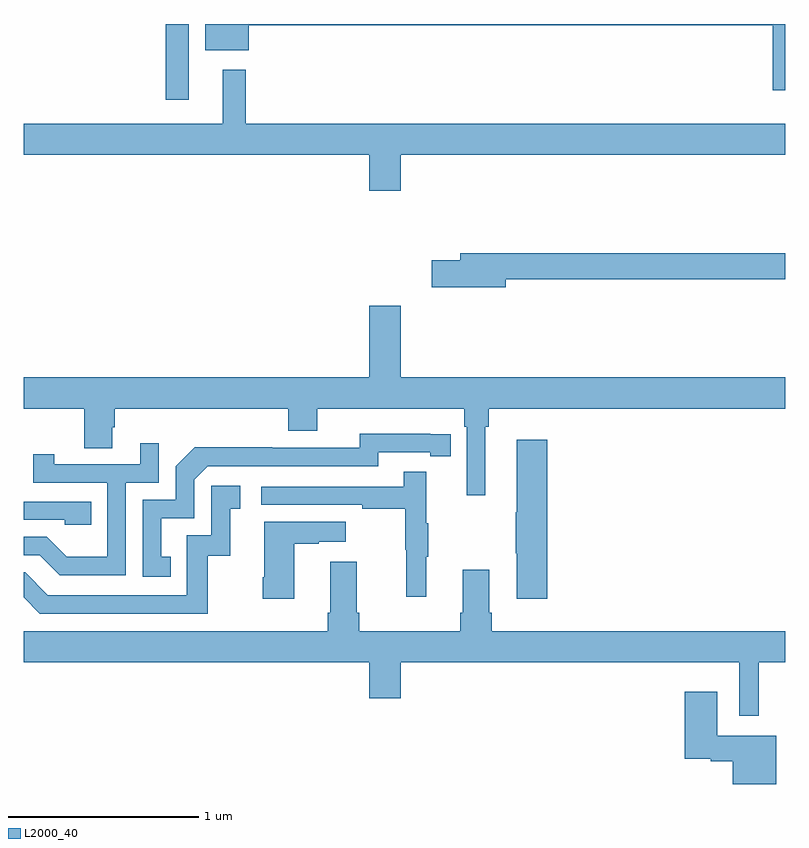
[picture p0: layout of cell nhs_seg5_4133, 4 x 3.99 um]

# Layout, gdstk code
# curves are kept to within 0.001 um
import gdstk
lib = gdstk.Library(unit=1e-6, precision=1e-09)
def R(c, l, rs):  # rectangles x0, y0, x1, y1
    for r in rs: c.add(gdstk.rectangle(r[:2], r[2:], *l))
def P(c, l, *ps):  # polygons
    for p in ps: c.add(gdstk.Polygon(p, *l))
L2000_40 = (2000, 40)

nhs_seg5_4133 = lib.new_cell('nhs_seg5_4133')
R(nhs_seg5_4133, L2000_40, [(355.746,838.401,355.867,838.799)])
P(nhs_seg5_4133, L2000_40, [(359,838.799),(355.955,838.799),(355.955,838.661),(356.182,838.661),(356.182,838.792),(358.934,838.792),(358.934,838.452),(359,838.452)],
  [(356.98,838.112),(359,838.112),(359,838.276),(356.167,838.276),(356.167,838.558),(356.045,838.558),(356.045,838.276),(355,838.276),(355,838.112),(356.816,838.112),(356.816,837.924),(356.98,837.924)],
  [(357.532,837.46),(359,837.46),(359,837.596),(357.293,837.596),(357.293,837.56),(357.144,837.56),(357.144,837.418),(357.532,837.418)],
  [(356.98,837.319),(356.816,837.319),(356.816,836.944),(355,836.944),(355,836.78),(355.318,836.78),(355.318,836.572),(355.465,836.572),(355.465,836.682),(355.478,836.682),(355.478,836.78),(356.39,836.78),(356.39,836.663),(356.542,836.663),(356.542,836.78),(357.314,836.78),(357.314,836.684),(357.327,836.684),(357.327,836.325),(357.424,836.325),(357.424,836.684),(357.443,836.684),(357.443,836.78),(359,836.78),(359,836.944),(356.98,836.944)],
  [(355.772,836.001),(355.723,836.001),(355.723,836.205),(355.896,836.205),(355.896,836.406),(355.968,836.478),(356.862,836.478),(356.862,836.55),(357.134,836.55),(357.134,836.53),(357.242,836.53),(357.242,836.646),(356.766,836.647),(356.766,836.574),(356.306,836.574),(356.306,836.576),(355.898,836.576),(355.8,836.478),(355.8,836.301),(355.626,836.301),(355.626,835.896),(355.772,835.896)],
  [(357.749,836.617),(357.59,836.617),(357.59,836.237),(357.583,836.237),(357.583,836.02),(357.59,836.02),(357.59,835.782),(357.749,835.782)],
  [(355.536,836.391),(355.71,836.391),(355.71,836.599),(355.613,836.599),(355.613,836.487),(355.162,836.487),(355.162,836.539),(355.051,836.539),(355.051,836.391),(355.44,836.391),(355.44,836.002),(355.226,836.002),(355.122,836.106),(355,836.106),(355,836.01),(355.085,836.01),(355.19,835.905),(355.536,835.905)],
  [(357.113,836.003),(357.124,836.003),(357.124,836.177),(357.113,836.177),(357.113,836.449),(356.995,836.449),(356.995,836.37),(356.247,836.37),(356.247,836.274),(356.779,836.274),(356.779,836.254),(357.003,836.254),(357.003,836.04),(357.01,836.04),(357.01,835.791),(357.113,835.791)],
  [(355.966,836.007),(356.084,836.007),(356.084,836.253),(356.137,836.253),(356.137,836.374),(355.986,836.374),(355.986,836.115),(355.857,836.115),(355.857,835.8),(355.128,835.8),(355.008,835.92),(355,835.92),(355,835.79),(355.086,835.704),(355.966,835.704)],
  [(355.355,836.292),(355,836.292),(355,836.196),(355.215,836.196),(355.215,836.169),(355.355,836.169)],
  [(356.422,836.071),(356.549,836.071),(356.549,836.081),(356.692,836.081),(356.692,836.185),(356.264,836.185),(356.264,835.894),(356.257,835.894),(356.257,835.782),(356.422,835.782)],
  [(358.861,835.448),(359,835.448),(359,835.612),(357.458,835.612),(357.458,835.708),(357.445,835.708),(357.445,835.933),(357.305,835.933),(357.305,835.708),(357.293,835.708),(357.293,835.612),(356.762,835.612),(356.762,835.708),(356.749,835.708),(356.749,835.975),(356.609,835.975),(356.609,835.708),(356.597,835.708),(356.597,835.612),(355,835.612),(355,835.448),(356.816,835.448),(356.816,835.26),(356.98,835.26),(356.98,835.448),(358.757,835.448),(358.757,835.167),(358.861,835.167)],
  [(358.951,835.063),(358.642,835.063),(358.642,835.294),(358.472,835.294),(358.472,834.941),(358.608,834.941),(358.608,834.929),(358.724,834.929),(358.724,834.809),(358.951,834.809)])

lib.write_gds('nhs_seg5_4133.gds')
